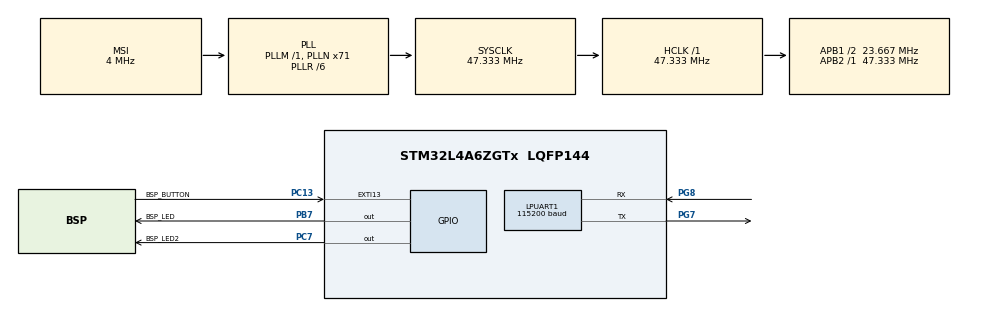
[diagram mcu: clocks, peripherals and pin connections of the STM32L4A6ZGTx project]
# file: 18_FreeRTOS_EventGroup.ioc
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FREERTOS.Tasks01=monitorTask,24,128,StartMonitorTask,Default,NULL,Dynamic,NULL,NULL;Task1,8,128,StartTask1,Default,NULL,Dynamic,NULL,NULL;Task2,8,128,StartTask2,Default,NULL,Dynamic,NULL,NULL
FREERTOS.configUSE_NEWLIB_REENTRANT=1
LPUART1.BaudRate=115200
LPUART1.WordLength=UART_WORDLENGTH_8B
Mcu.Family=STM32L4
Mcu.Name=STM32L4A6ZGTx
Mcu.Package=LQFP144
NVIC.PriorityGroup=NVIC_PRIORITYGROUP_4
NVIC.TIM6_DAC_IRQn=true\:15\:0\:false\:false\:true\:false\:false\:true\:true
NVIC.TimeBase=TIM6_DAC_IRQn
NVIC.TimeBaseIP=TIM6
PA13\ (JTMS/SWDIO).Mode=Trace_Asynchronous_SW
PA13\ (JTMS/SWDIO).Signal=SYS_JTMS-SWDIO
PA14\ (JTCK/SWCLK).Mode=Trace_Asynchronous_SW
PA14\ (JTCK/SWCLK).Signal=SYS_JTCK-SWCLK
PB3\ (JTDO/TRACESWO).Mode=Trace_Asynchronous_SW
PB3\ (JTDO/TRACESWO).Signal=SYS_JTDO-SWO
PB7.GPIO_Label=BSP_LED
PB7.Signal=GPIO_Output
PC13.GPIO_Label=BSP_BUTTON
PC13.Signal=GPXTI13
PC7.GPIO_Label=BSP_LED2
PC7.Signal=GPIO_Output
PG7.Mode=Asynchronous
PG7.Signal=LPUART1_TX
PG8.Mode=Asynchronous
PG8.Signal=LPUART1_RX
ProjectManager.HeapSize=0x200
ProjectManager.StackSize=0x400
ProjectManager.TargetToolchain=STM32CubeIDE
RCC.ADCFreq_Value=48000000
RCC.AHBFreq_Value=47333333.333333336
RCC.APB1CLKDivider=RCC_HCLK_DIV2
RCC.APB1Freq_Value=23666666.666666668
RCC.APB1TimFreq_Value=47333333.333333336
RCC.APB2Freq_Value=47333333.333333336
RCC.APB2TimFreq_Value=47333333.333333336
RCC.CortexFreq_Value=47333333.333333336
RCC.FLatency=FLASH_LATENCY_2
RCC.HCLKFreq_Value=47333333.333333336
RCC.HSE_VALUE=8000000
RCC.HSI48_VALUE=48000000
RCC.HSI_VALUE=16000000
RCC.LSE_VALUE=32768
RCC.MSI_VALUE=4000000
RCC.PLLN=71
RCC.PLLR=RCC_PLLR_DIV6
RCC.PLLSAI1N=24
RCC.SYSCLKFreq_VALUE=47333333.333333336
RCC.SYSCLKSource=RCC_SYSCLKSOURCE_PLLCLK
RCC.USBFreq_Value=48000000
RCC.VCOOutputFreq_Value=284000000
VP_FREERTOS_VS_CMSIS_V2.Mode=CMSIS_V2
VP_SYS_VS_tim6.Mode=TIM6
board=NUCLEO-L4A6ZG

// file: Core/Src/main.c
/* USER CODE BEGIN Header */
/**
 ******************************************************************************
 * @file           : main.c
 * @brief          : Main program body
 ******************************************************************************
 * @attention
 *
 * Copyright (c) 2024 STMicroelectronics.
 * All rights reserved.
 *
 * This software is licensed under terms that can be found in the LICENSE file
 * in the root directory of this software component.
 * If no LICENSE file comes with this software, it is provided AS-IS.
 *
 ******************************************************************************
 */
/* USER CODE END Header */
#include "main.h"
#include "cmsis_os.h"

/* USER CODE BEGIN Includes */
#include <stdio.h>
/* USER CODE END Includes */

/* USER CODE BEGIN PD */
#define EVENT_FLAG_1 		(1U << 0)
#define EVENT_FLAG_2 		(1U << 1)
#define EVENT_FLAG_3		(1U << 2)
#define EVENT_FLAG_4		(1U << 3)
/* USER CODE END PD */

UART_HandleTypeDef hlpuart1;

/* Definitions for monitorTask */
osThreadId_t monitorTaskHandle;
const osThreadAttr_t monitorTask_attributes = { .name = "monitorTask",
		.stack_size = 128 * 4, .priority = (osPriority_t) osPriorityNormal, };
/* Definitions for Task1 */
osThreadId_t Task1Handle;
const osThreadAttr_t Task1_attributes = { .name = "Task1",
		.stack_size = 128 * 4, .priority = (osPriority_t) osPriorityNormal, };
/* Definitions for Task2 */
osThreadId_t Task2Handle;
const osThreadAttr_t Task2_attributes = { .name = "Task2",
		.stack_size = 128 * 4, .priority = (osPriority_t) osPriorityNormal, };
/* USER CODE BEGIN PV */
osEventFlagsId_t event_group;
/* USER CODE END PV */

void SystemClock_Config(void);
static void MX_GPIO_Init(void);
static void MX_LPUART1_UART_Init(void);
void StartMonitorTask(void *argument);
void StartTask1(void *argument);
void StartTask2(void *argument);

int main(void) {

	/* MCU Configuration--------------------------------------------------------*/

	/* Reset of all peripherals, Initializes the Flash interface and the Systick. */
	HAL_Init();

	/* Configure the system clock */
	SystemClock_Config();

	/* Initialize all configured peripherals */
	MX_GPIO_Init();
	MX_LPUART1_UART_Init();

	/* Init scheduler */
	osKernelInitialize();

	/* Create the thread(s) */
	/* creation of monitorTask */
	monitorTaskHandle = osThreadNew(StartMonitorTask, NULL,
			&monitorTask_attributes);

	/* creation of Task1 */
	Task1Handle = osThreadNew(StartTask1, NULL, &Task1_attributes);

	/* creation of Task2 */
	Task2Handle = osThreadNew(StartTask2, NULL, &Task2_attributes);

	/* USER CODE BEGIN RTOS_EVENTS */
	/* add events, ... */

	/* Create a event group */
	event_group = osEventFlagsNew(NULL);
	if (event_group == NULL) {
		Error_Handler();
	}
	/* USER CODE END RTOS_EVENTS */

	/* Start scheduler */
	osKernelStart();

	/* We should never get here as control is now taken by the scheduler */

	/* Infinite loop */
	while (1) {

	}
}

void SystemClock_Config(void) {
	RCC_OscInitTypeDef RCC_OscInitStruct = { 0 };
	RCC_ClkInitTypeDef RCC_ClkInitStruct = { 0 };

	/** Configure the main internal regulator output voltage
	 */
	if (HAL_PWREx_ControlVoltageScaling(PWR_REGULATOR_VOLTAGE_SCALE1)
			!= HAL_OK) {
		Error_Handler();
	}

	/** Initializes the RCC Oscillators according to the specified parameters
	 * in the RCC_OscInitTypeDef structure.
	 */
	RCC_OscInitStruct.OscillatorType = RCC_OSCILLATORTYPE_MSI;
	RCC_OscInitStruct.MSIState = RCC_MSI_ON;
	RCC_OscInitStruct.MSICalibrationValue = 0;
	RCC_OscInitStruct.MSIClockRange = RCC_MSIRANGE_6;
	RCC_OscInitStruct.PLL.PLLState = RCC_PLL_ON;
	RCC_OscInitStruct.PLL.PLLSource = RCC_PLLSOURCE_MSI;
	RCC_OscInitStruct.PLL.PLLM = 1;
	RCC_OscInitStruct.PLL.PLLN = 71;
	RCC_OscInitStruct.PLL.PLLP = RCC_PLLP_DIV2;
	RCC_OscInitStruct.PLL.PLLQ = RCC_PLLQ_DIV2;
	RCC_OscInitStruct.PLL.PLLR = RCC_PLLR_DIV6;
	if (HAL_RCC_OscConfig(&RCC_OscInitStruct) != HAL_OK) {
		Error_Handler();
	}

	/** Initializes the CPU, AHB and APB buses clocks
	 */
	RCC_ClkInitStruct.ClockType = RCC_CLOCKTYPE_HCLK | RCC_CLOCKTYPE_SYSCLK
			| RCC_CLOCKTYPE_PCLK1 | RCC_CLOCKTYPE_PCLK2;
	RCC_ClkInitStruct.SYSCLKSource = RCC_SYSCLKSOURCE_PLLCLK;
	RCC_ClkInitStruct.AHBCLKDivider = RCC_SYSCLK_DIV1;
	RCC_ClkInitStruct.APB1CLKDivider = RCC_HCLK_DIV2;
	RCC_ClkInitStruct.APB2CLKDivider = RCC_HCLK_DIV1;

	if (HAL_RCC_ClockConfig(&RCC_ClkInitStruct, FLASH_LATENCY_2) != HAL_OK) {
		Error_Handler();
	}
}

static void MX_LPUART1_UART_Init(void) {

	hlpuart1.Instance = LPUART1;
	hlpuart1.Init.BaudRate = 115200;
	hlpuart1.Init.WordLength = UART_WORDLENGTH_8B;
	hlpuart1.Init.StopBits = UART_STOPBITS_1;
	hlpuart1.Init.Parity = UART_PARITY_NONE;
	hlpuart1.Init.Mode = UART_MODE_TX_RX;
	hlpuart1.Init.HwFlowCtl = UART_HWCONTROL_NONE;
	hlpuart1.Init.OneBitSampling = UART_ONE_BIT_SAMPLE_DISABLE;
	hlpuart1.AdvancedInit.AdvFeatureInit = UART_ADVFEATURE_NO_INIT;
	if (HAL_UART_Init(&hlpuart1) != HAL_OK) {
		Error_Handler();
	}

}

static void MX_GPIO_Init(void) {
	GPIO_InitTypeDef GPIO_InitStruct = { 0 };

	/* GPIO Ports Clock Enable */
	__HAL_RCC_GPIOC_CLK_ENABLE();
	__HAL_RCC_GPIOG_CLK_ENABLE();
	HAL_PWREx_EnableVddIO2();
	__HAL_RCC_GPIOA_CLK_ENABLE();
	__HAL_RCC_GPIOB_CLK_ENABLE();

	/*Configure GPIO pin Output Level */
	HAL_GPIO_WritePin(BSP_LED2_GPIO_Port, BSP_LED2_Pin, GPIO_PIN_RESET);

	/*Configure GPIO pin Output Level */
	HAL_GPIO_WritePin(BSP_LED_GPIO_Port, BSP_LED_Pin, GPIO_PIN_RESET);

	/*Configure GPIO pin : BSP_BUTTON_Pin */
	GPIO_InitStruct.Pin = BSP_BUTTON_Pin;
	GPIO_InitStruct.Mode = GPIO_MODE_IT_RISING;
	GPIO_InitStruct.Pull = GPIO_NOPULL;
	HAL_GPIO_Init(BSP_BUTTON_GPIO_Port, &GPIO_InitStruct);

	/*Configure GPIO pin : BSP_LED2_Pin */
	GPIO_InitStruct.Pin = BSP_LED2_Pin;
	GPIO_InitStruct.Mode = GPIO_MODE_OUTPUT_PP;
	GPIO_InitStruct.Pull = GPIO_NOPULL;
	GPIO_InitStruct.Speed = GPIO_SPEED_FREQ_LOW;
	HAL_GPIO_Init(BSP_LED2_GPIO_Port, &GPIO_InitStruct);

	/*Configure GPIO pin : BSP_LED_Pin */
	GPIO_InitStruct.Pin = BSP_LED_Pin;
	GPIO_InitStruct.Mode = GPIO_MODE_OUTPUT_PP;
	GPIO_InitStruct.Pull = GPIO_NOPULL;
	GPIO_InitStruct.Speed = GPIO_SPEED_FREQ_LOW;
	HAL_GPIO_Init(BSP_LED_GPIO_Port, &GPIO_InitStruct);

}

void StartMonitorTask(void *argument) {
    uint32_t flags;

    /* Infinite loop */
    for (;;) {
        /* Wait for any events from Task1, Task2, Task3, Task4 */
        flags = osEventFlagsWait(event_group,
        		EVENT_FLAG_1 | EVENT_FLAG_2 | EVENT_FLAG_3 | EVENT_FLAG_4, osFlagsWaitAny, osWaitForever);

        // Handle Task1 event
        if (flags & EVENT_FLAG_1) {
            HAL_GPIO_WritePin(BSP_LED_GPIO_Port, BSP_LED_Pin, GPIO_PIN_SET);
            printf("Task1 produced an event. LED1 ON.\r\n");

        }

        // Handle Task2 event
        if (flags & EVENT_FLAG_2) {
            HAL_GPIO_WritePin(BSP_LED2_GPIO_Port, BSP_LED2_Pin, GPIO_PIN_SET);
            printf("Task2 produced an event. LED2 ON.\r\n");

        }

        // Handle Task3 event
        if (flags & EVENT_FLAG_3) {

        	for(int i = 0; i<10; i++)
        	{
        		HAL_GPIO_TogglePin(BSP_LED_GPIO_Port, BSP_LED_Pin);
        		HAL_GPIO_TogglePin(BSP_LED2_GPIO_Port, BSP_LED2_Pin);
        		osDelay(200);
        	}
            HAL_GPIO_WritePin(BSP_LED_GPIO_Port, BSP_LED_Pin, GPIO_PIN_RESET);
            HAL_GPIO_WritePin(BSP_LED2_GPIO_Port, BSP_LED2_Pin, GPIO_PIN_RESET);
            printf("Task3 produced an event. LED OFF\r\n");

        }

        // Handle Task4 event
        if (flags & EVENT_FLAG_4) {
        	/* do nothing */
        	printf("Event Flag 4\r\n");
        }

        // Small delay to avoid busy waiting
        osDelay(1000);
    }
}

void StartTask1(void *argument) {
	/* USER CODE BEGIN StartTask1 */

	uint8_t count = 0;
	/* Infinite loop */
	for (;;) {
		/* Set the event flag for Task1 to notify the consumer (monitorTask) */
		osEventFlagsSet(event_group, EVENT_FLAG_1 | EVENT_FLAG_4);

		if(count == 10)
		{
			osEventFlagsSet(event_group, EVENT_FLAG_3);
			count = 0;
		}
		count++;
		osDelay(2000); // Task1 produces an event every 1000ms
	}
	/* USER CODE END StartTask1 */
}

void StartTask2(void *argument) {
	/* USER CODE BEGIN StartTask2 */
	/* Infinite loop */
	for (;;) {
		/* Set the event flag for Task2 to notify the consumer (monitorTask) */
		osEventFlagsSet(event_group, EVENT_FLAG_2);
		osDelay(5000); // Task2 produces an event every 5000ms
	}
	/* USER CODE END StartTask2 */
}

void HAL_TIM_PeriodElapsedCallback(TIM_HandleTypeDef *htim) {
	if (htim->Instance == TIM6) {
		HAL_IncTick();
	}
}

void Error_Handler(void) {
	__disable_irq();
	while (1) {
	}
}
